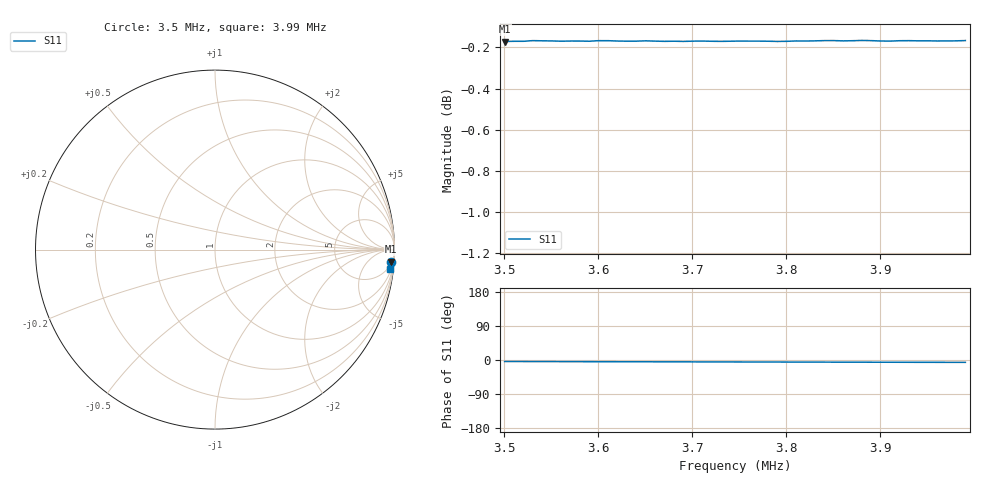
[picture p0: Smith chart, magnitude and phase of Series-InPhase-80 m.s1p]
# HZ S RI R 50
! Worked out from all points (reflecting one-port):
!   50 points, 3.5 MHz to 3.99 MHz, reference 50 ohm
!   lowest |S11| = -0.2 dB at 3.5 MHz (marker M1), VSWR 101.54, Z = 382 - j1.34e+03 ohm
!   phase of S11 starts at -4 deg and turns -2 deg over the sweep
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3500200  0.9782 -0.0677
3520208  0.9782 -0.0694
3530212  0.9785 -0.0703
3560224  0.978 -0.0729
3570228  0.978 -0.0738
3590236  0.9778 -0.0754
3600240  0.978 -0.0766
3630252  0.9775 -0.0785
3650260  0.9776 -0.0804
3670268  0.9771 -0.082
3690276  0.977 -0.0836
3710284  0.977 -0.0854
3730292  0.9767 -0.0869
3740296  0.9767 -0.0878
3750300  0.9768 -0.0885
3770308  0.9765 -0.0903
3790316  0.9762 -0.0918
3810324  0.9763 -0.0935
3840336  0.9763 -0.096
3850340  0.9762 -0.0966
3860344  0.976 -0.0975
3870348  0.976 -0.0983
3880352  0.9761 -0.0992
3910364  0.9755 -0.1014
3930372  0.9755 -0.1031
3960384  0.9751 -0.1055
3980392  0.975 -0.1069
3990396  0.9751 -0.1079
